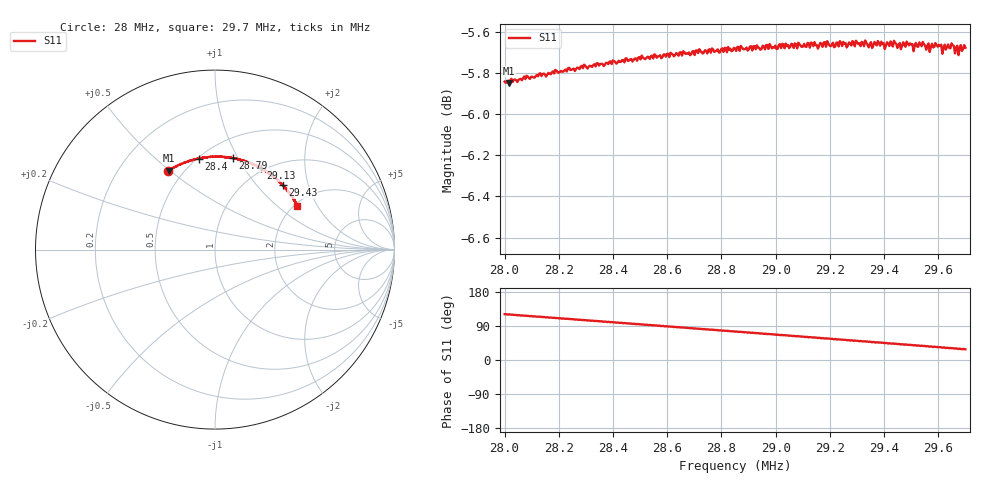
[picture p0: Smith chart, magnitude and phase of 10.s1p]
# Hz S RI R 50
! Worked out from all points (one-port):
!   401 points, 28 MHz to 29.7 MHz, reference 50 ohm
!   lowest |S11| = -5.8 dB at 28.02 MHz (marker M1), VSWR 3.08, Z = 20.8 + j24.8 ohm
!   |S11| at or under -10 dB: nowhere
!   S11 on the Smith chart (normalised r, x): 28 MHz: 0.41, +0.49; 28.4 MHz: 0.51, +0.70; 28.79 MHz: 0.68, +0.96; 29.13 MHz: 0.96, +1.19; 29.43 MHz: 1.41, +1.39; 29.7 MHz: 2.07, +1.39
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2.8e7  -0.2629 0.4375
2.8017e7  -0.2574 0.4403
2.81105e7  -0.2187 0.4624
2.82125e7  -0.1673 0.4852
2.827625e7  -0.1457 0.4929
2.839525e7  -0.0902 0.5075
2.8425e7  -0.0686 0.5115
2.854825e7  -0.0164 0.5168
2.86375e7  0.0348 0.5172
2.8714e7  0.0646 0.5146
2.878625e7  0.1013 0.5097
2.885e7  0.1381 0.5013
2.8969e7  0.1927 0.484
2.90625e7  0.2367 0.4643
2.912625e7  0.256 0.4528
2.9275e7  0.3263 0.4067
2.936e7  0.3507 0.3849
2.943225e7  0.3762 0.3597
2.946625e7  0.3884 0.3469
2.94875e7  0.3993 0.3352
2.9513e7  0.404 0.3287
2.95555e7  0.4201 0.3058
2.95725e7  0.4215 0.3051
2.959375e7  0.4313 0.2921
2.961925e7  0.4351 0.2852
2.966175e7  0.4487 0.2599
2.967875e7  0.4508 0.2593
2.97e7  0.4588 0.2452
